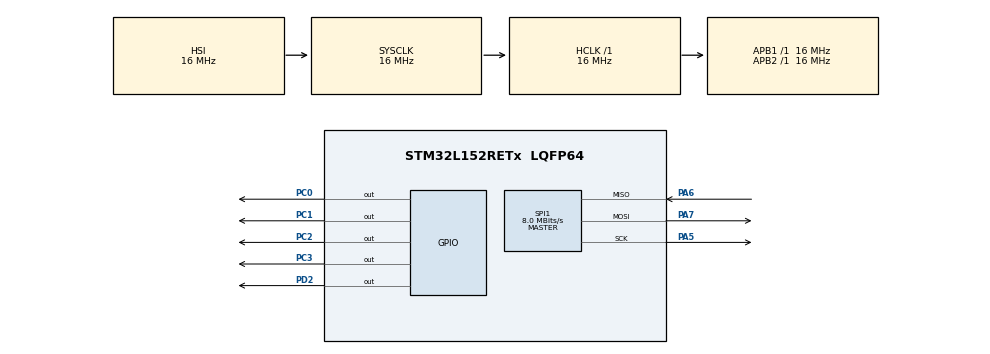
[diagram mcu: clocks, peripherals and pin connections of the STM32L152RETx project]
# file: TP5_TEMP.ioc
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ADC.Channel-0\#ChannelRegularConversion=ADC_CHANNEL_VREFINT
ADC.NbrOfConversionFlag=1
ADC.Rank-0\#ChannelRegularConversion=1
ADC.SamplingTime-0\#ChannelRegularConversion=ADC_SAMPLETIME_4CYCLES
Mcu.Family=STM32L1
Mcu.Name=STM32L152RETx
Mcu.Package=LQFP64
NVIC.ADC1_IRQn=true\:0\:0\:false\:false\:true\:true\:true\:true
NVIC.PriorityGroup=NVIC_PRIORITYGROUP_4
PA0-WKUP1.Signal=ADC_IN0
PA5.Mode=Full_Duplex_Master
PA5.Signal=SPI1_SCK
PA6.Mode=Full_Duplex_Master
PA6.Signal=SPI1_MISO
PA7.Mode=Full_Duplex_Master
PA7.Signal=SPI1_MOSI
PB15.Signal=S_TIM11_CH1
PB7.Signal=S_TIM4_CH2
PC0.Signal=GPIO_Output
PC1.PinState=GPIO_PIN_SET
PC1.Signal=GPIO_Output
PC2.PinState=GPIO_PIN_SET
PC2.Signal=GPIO_Output
PC3.PinState=GPIO_PIN_SET
PC3.Signal=GPIO_Output
PD2.PinState=GPIO_PIN_SET
PD2.Signal=GPIO_Output
ProjectManager.HeapSize=0x200
ProjectManager.StackSize=0x400
ProjectManager.TargetToolchain=STM32CubeIDE
RCC.AHBFreq_Value=16000000
RCC.APB1Freq_Value=16000000
RCC.APB1TimFreq_Value=16000000
RCC.APB2Freq_Value=16000000
RCC.APB2TimFreq_Value=16000000
RCC.HCLKFreq_Value=16000000
RCC.HSE_VALUE=24000000
RCC.HSI_VALUE=16000000
RCC.LSE_VALUE=32768
RCC.MSI_VALUE=2097000
RCC.SYSCLKFreq_VALUE=16000000
RCC.SYSCLKSource=RCC_SYSCLKSOURCE_HSI
RCC.VCOOutputFreq_Value=48000000
SH.S_TIM11_CH1.0=TIM11_CH1
SH.S_TIM4_CH2.0=TIM4_CH2
SPI1.CalculateBaudRate=8.0 MBits/s
SPI1.Direction=SPI_DIRECTION_2LINES
SPI1.Mode=SPI_MODE_MASTER
SPI1.VirtualType=VM_MASTER
VP_ADC_Vref_Input.Mode=IN-Vrefint
board=custom

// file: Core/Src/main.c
/* USER CODE BEGIN Header */
/**
  ******************************************************************************
  * @file           : main.c
  * @brief          : Main program body
  ******************************************************************************
  * @attention
  *
  * Copyright (c) 2025 STMicroelectronics.
  * All rights reserved.
  *
  * This software is licensed under terms that can be found in the LICENSE file
  * in the root directory of this software component.
  * If no LICENSE file comes with this software, it is provided AS-IS.
  *
  ******************************************************************************
  */
/* USER CODE END Header */
#include "main.h"

/* USER CODE BEGIN Includes */
#include "max7219.h"
#include "fonc_tft.h"

/* USER CODE END Includes */

ADC_HandleTypeDef hadc;

SPI_HandleTypeDef hspi1;

void SystemClock_Config(void);
static void MX_GPIO_Init(void);
static void MX_SPI1_Init(void);
static void MX_ADC_Init(void);
/* USER CODE BEGIN PFP */
void affiche_nombre(uint32_t nombre, uint8_t col, uint8_t ligne);

/* USER CODE END PFP */

/* USER CODE BEGIN 0 */
void affiche_nombre(uint32_t nombre, uint8_t col, uint8_t ligne) {
    if (nombre < 0 || nombre > 9999) {
        return;
    }

    uint8_t mil = nombre / 1000;
    uint8_t cen = (nombre / 100) % 10;
    uint8_t diz = (nombre / 10) % 10;
    uint8_t uni = nombre % 10;

    displayChar_TFT(col, ligne, mil + 0x30, ST7735_YELLOW, ST7735_BLACK, 2);
    displayChar_TFT(col + 12, ligne, cen + 0x30, ST7735_YELLOW, ST7735_BLACK, 2);
    displayChar_TFT(col + 24, ligne, diz + 0x30, ST7735_YELLOW, ST7735_BLACK, 2);
    displayChar_TFT(col + 36, ligne, uni + 0x30, ST7735_YELLOW, ST7735_BLACK, 2);
    displayChar_TFT(col + 48, ligne, 'm', ST7735_YELLOW, ST7735_BLACK, 2);
    displayChar_TFT(col + 60, ligne, 'V', ST7735_YELLOW, ST7735_BLACK, 2);
}

/* USER CODE END 0 */

int main(void)
{

  /* MCU Configuration--------------------------------------------------------*/

  /* Reset of all peripherals, Initializes the Flash interface and the Systick. */
  HAL_Init();

  /* Configure the system clock */
  SystemClock_Config();

  /* Initialize all configured peripherals */
  MX_GPIO_Init();
  MX_SPI1_Init();
  MX_ADC_Init();
  /* USER CODE BEGIN 2 */
  MAX7219_Init();
  init_TFT();
  MAX7219_Clear();

  /* USER CODE END 2 */

  /* Infinite loop */
  /* USER CODE BEGIN WHILE */
  const uint16_t VREFINT_CAL = *(uint16_t*)0x1FF800F8;
  while (1)
  {
    /* USER CODE END WHILE */

    /* USER CODE BEGIN 3 */
	  HAL_ADC_Start(&hadc);
	  HAL_ADC_PollForConversion(&hadc, 1000);
	  uint32_t value = HAL_ADC_GetValue(&hadc);
	  HAL_ADC_Stop(&hadc);
	  uint32_t milivolt = (value / 4096.0) * 3300;
	  affiche_nombre(milivolt, 10, 80);

  }

  /* USER CODE END 3 */
}

void SystemClock_Config(void)
{
  RCC_OscInitTypeDef RCC_OscInitStruct = {0};
  RCC_ClkInitTypeDef RCC_ClkInitStruct = {0};

  /** Configure the main internal regulator output voltage
  */
  __HAL_PWR_VOLTAGESCALING_CONFIG(PWR_REGULATOR_VOLTAGE_SCALE1);

  /** Initializes the RCC Oscillators according to the specified parameters
  * in the RCC_OscInitTypeDef structure.
  */
  RCC_OscInitStruct.OscillatorType = RCC_OSCILLATORTYPE_HSI;
  RCC_OscInitStruct.HSIState = RCC_HSI_ON;
  RCC_OscInitStruct.HSICalibrationValue = RCC_HSICALIBRATION_DEFAULT;
  RCC_OscInitStruct.PLL.PLLState = RCC_PLL_NONE;
  if (HAL_RCC_OscConfig(&RCC_OscInitStruct) != HAL_OK)
  {
    Error_Handler();
  }

  /** Initializes the CPU, AHB and APB buses clocks
  */
  RCC_ClkInitStruct.ClockType = RCC_CLOCKTYPE_HCLK|RCC_CLOCKTYPE_SYSCLK
                              |RCC_CLOCKTYPE_PCLK1|RCC_CLOCKTYPE_PCLK2;
  RCC_ClkInitStruct.SYSCLKSource = RCC_SYSCLKSOURCE_HSI;
  RCC_ClkInitStruct.AHBCLKDivider = RCC_SYSCLK_DIV1;
  RCC_ClkInitStruct.APB1CLKDivider = RCC_HCLK_DIV1;
  RCC_ClkInitStruct.APB2CLKDivider = RCC_HCLK_DIV1;

  if (HAL_RCC_ClockConfig(&RCC_ClkInitStruct, FLASH_LATENCY_0) != HAL_OK)
  {
    Error_Handler();
  }
}

static void MX_ADC_Init(void)
{

  ADC_ChannelConfTypeDef sConfig = {0};

  /** Configure the global features of the ADC (Clock, Resolution, Data Alignment and number of conversion)
  */
  hadc.Instance = ADC1;
  hadc.Init.ClockPrescaler = ADC_CLOCK_ASYNC_DIV1;
  hadc.Init.Resolution = ADC_RESOLUTION_12B;
  hadc.Init.DataAlign = ADC_DATAALIGN_RIGHT;
  hadc.Init.ScanConvMode = ADC_SCAN_DISABLE;
  hadc.Init.EOCSelection = ADC_EOC_SEQ_CONV;
  hadc.Init.LowPowerAutoWait = ADC_AUTOWAIT_DISABLE;
  hadc.Init.LowPowerAutoPowerOff = ADC_AUTOPOWEROFF_DISABLE;
  hadc.Init.ChannelsBank = ADC_CHANNELS_BANK_A;
  hadc.Init.ContinuousConvMode = DISABLE;
  hadc.Init.NbrOfConversion = 1;
  hadc.Init.DiscontinuousConvMode = DISABLE;
  hadc.Init.ExternalTrigConv = ADC_SOFTWARE_START;
  hadc.Init.ExternalTrigConvEdge = ADC_EXTERNALTRIGCONVEDGE_NONE;
  hadc.Init.DMAContinuousRequests = DISABLE;
  if (HAL_ADC_Init(&hadc) != HAL_OK)
  {
    Error_Handler();
  }

  /** Configure for the selected ADC regular channel its corresponding rank in the sequencer and its sample time.
  */
  sConfig.Channel = ADC_CHANNEL_VREFINT;
  sConfig.Rank = ADC_REGULAR_RANK_1;
  sConfig.SamplingTime = ADC_SAMPLETIME_4CYCLES;
  if (HAL_ADC_ConfigChannel(&hadc, &sConfig) != HAL_OK)
  {
    Error_Handler();
  }

}

static void MX_SPI1_Init(void)
{

  /* SPI1 parameter configuration*/
  hspi1.Instance = SPI1;
  hspi1.Init.Mode = SPI_MODE_MASTER;
  hspi1.Init.Direction = SPI_DIRECTION_2LINES;
  hspi1.Init.DataSize = SPI_DATASIZE_8BIT;
  hspi1.Init.CLKPolarity = SPI_POLARITY_LOW;
  hspi1.Init.CLKPhase = SPI_PHASE_1EDGE;
  hspi1.Init.NSS = SPI_NSS_SOFT;
  hspi1.Init.BaudRatePrescaler = SPI_BAUDRATEPRESCALER_2;
  hspi1.Init.FirstBit = SPI_FIRSTBIT_MSB;
  hspi1.Init.TIMode = SPI_TIMODE_DISABLE;
  hspi1.Init.CRCCalculation = SPI_CRCCALCULATION_DISABLE;
  hspi1.Init.CRCPolynomial = 10;
  if (HAL_SPI_Init(&hspi1) != HAL_OK)
  {
    Error_Handler();
  }

}

static void MX_GPIO_Init(void)
{
  GPIO_InitTypeDef GPIO_InitStruct = {0};

  /* GPIO Ports Clock Enable */
  __HAL_RCC_GPIOC_CLK_ENABLE();
  __HAL_RCC_GPIOA_CLK_ENABLE();
  __HAL_RCC_GPIOB_CLK_ENABLE();
  __HAL_RCC_GPIOD_CLK_ENABLE();

  /*Configure GPIO pin Output Level */
  HAL_GPIO_WritePin(GPIOC, GPIO_PIN_0, GPIO_PIN_RESET);

  /*Configure GPIO pin Output Level */
  HAL_GPIO_WritePin(GPIOC, GPIO_PIN_1|GPIO_PIN_2|GPIO_PIN_3, GPIO_PIN_SET);

  /*Configure GPIO pin Output Level */
  HAL_GPIO_WritePin(GPIOD, GPIO_PIN_2, GPIO_PIN_SET);

  /*Configure GPIO pins : PC0 PC1 PC2 PC3 */
  GPIO_InitStruct.Pin = GPIO_PIN_0|GPIO_PIN_1|GPIO_PIN_2|GPIO_PIN_3;
  GPIO_InitStruct.Mode = GPIO_MODE_OUTPUT_PP;
  GPIO_InitStruct.Pull = GPIO_NOPULL;
  GPIO_InitStruct.Speed = GPIO_SPEED_FREQ_LOW;
  HAL_GPIO_Init(GPIOC, &GPIO_InitStruct);

  /*Configure GPIO pin : PB15 */
  GPIO_InitStruct.Pin = GPIO_PIN_15;
  GPIO_InitStruct.Mode = GPIO_MODE_AF_PP;
  GPIO_InitStruct.Pull = GPIO_NOPULL;
  GPIO_InitStruct.Speed = GPIO_SPEED_FREQ_LOW;
  GPIO_InitStruct.Alternate = GPIO_AF3_TIM11;
  HAL_GPIO_Init(GPIOB, &GPIO_InitStruct);

  /*Configure GPIO pin : PD2 */
  GPIO_InitStruct.Pin = GPIO_PIN_2;
  GPIO_InitStruct.Mode = GPIO_MODE_OUTPUT_PP;
  GPIO_InitStruct.Pull = GPIO_NOPULL;
  GPIO_InitStruct.Speed = GPIO_SPEED_FREQ_LOW;
  HAL_GPIO_Init(GPIOD, &GPIO_InitStruct);

  /*Configure GPIO pin : PB7 */
  GPIO_InitStruct.Pin = GPIO_PIN_7;
  GPIO_InitStruct.Mode = GPIO_MODE_AF_PP;
  GPIO_InitStruct.Pull = GPIO_NOPULL;
  GPIO_InitStruct.Speed = GPIO_SPEED_FREQ_LOW;
  GPIO_InitStruct.Alternate = GPIO_AF2_TIM4;
  HAL_GPIO_Init(GPIOB, &GPIO_InitStruct);

}

void Error_Handler(void)
{
  __disable_irq();
  while (1)
  {
  }
}
